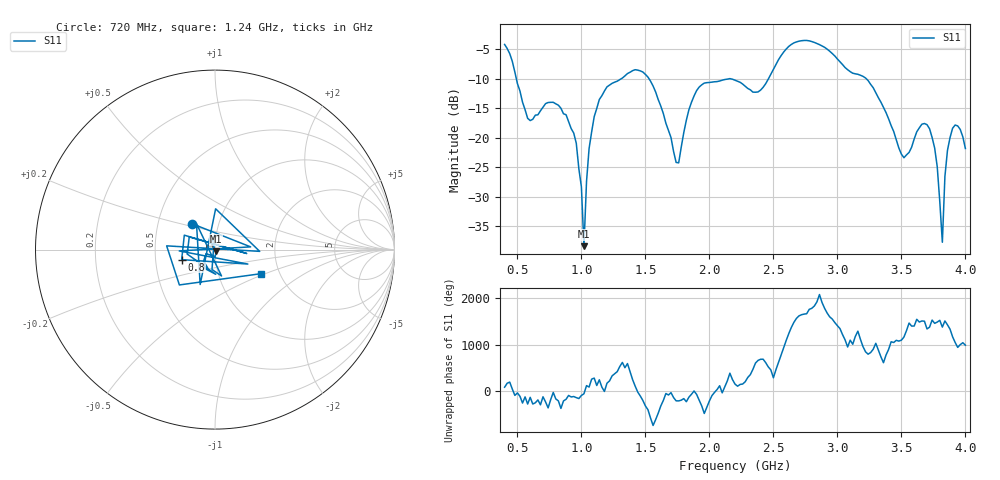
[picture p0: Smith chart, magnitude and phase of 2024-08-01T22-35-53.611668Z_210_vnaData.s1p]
!Created with skrf (http://scikit-rf.org).
# Hz S RI R 50.0
!freq ReS11 ImS11
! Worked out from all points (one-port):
!   181 points, 400 MHz to 4 GHz, reference 50 ohm
!   lowest |S11| = -38.3 dB at 1.02 GHz (marker M1), VSWR 1.02, Z = 50.7 - j0.97 ohm
!   |S11| at or under -10 dB: 491.7 MHz to 1.311 GHz (819.2 MHz wide, 90.9 % of centre); 1.528 GHz to 2.155 GHz (626.9 MHz wide, 34 % of centre); 3.226 GHz to end of sweep (the widest 3 of 4)
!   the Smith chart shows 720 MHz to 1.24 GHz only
!   S11 on the Smith chart (normalised r, x): 720 MHz: 0.74, +0.22; 800 MHz: 0.68, -0.08; 1.24 GHz: 1.60, -0.47
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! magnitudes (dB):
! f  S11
! 400 MHz  -4.2
! 580 MHz  -16.7
! 720 MHz  -14.2
! 800 MHz  -14.2
! 860 MHz  -15.9
! 960 MHz  -20.9
! 1 GHz  -28.3
! 1.02 GHz  -38.3
! 1.04 GHz  -27.4
! 1.06 GHz  -21.8
! 1.1 GHz  -16.4
! 1.24 GHz  -10.8
! 1.3 GHz  -10.1
! 1.52 GHz  -9.7
! 1.76 GHz  -24.2
! 1.9 GHz  -12.0
! 2.2 GHz  -10.2
! 2.38 GHz  -12.2
! 2.66 GHz  -3.9
! 3.1 GHz  -8.8
! 3.56 GHz  -22.5
! 3.72 GHz  -18.5
! 3.78 GHz  -24.9
! 3.82 GHz  -37.7
! 3.84 GHz  -26.5
! 3.88 GHz  -20.0
! 3.94 GHz  -18.0
! 4 GHz  -21.8
